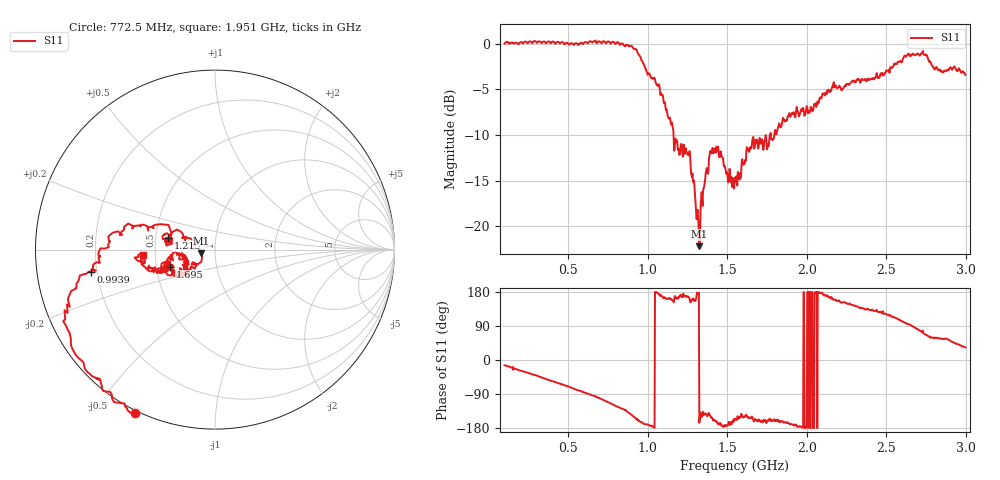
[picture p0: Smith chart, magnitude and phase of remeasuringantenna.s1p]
# HZ S RI R 50
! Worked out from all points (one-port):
!   1009 points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, 100 MHz to 2.997 GHz, reference 50 ohm
!   lowest |S11| = -22.2 dB at 1.324 GHz (marker M1), VSWR 1.17, Z = 42.9 - j1.7 ohm
!   |S11| at or under -10 dB: 1.162 GHz to 1.77 GHz (608.2 MHz wide, 41.5 % of centre); 1.774 GHz to 1.796 GHz (21.81 MHz wide, 1.22 % of centre)
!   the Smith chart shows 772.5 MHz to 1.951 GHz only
!   S11 on the Smith chart (normalised r, x): 772.5 MHz: -0.01, -0.62; 993.9 MHz: 0.18, -0.09; 1.215 GHz: 0.58, +0.08; 1.695 GHz: 0.59, -0.12; 1.951 GHz: 0.43, -0.03
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1e8  0.9707 -0.2409
2.95441e8  0.7842 -0.6624
4.621408e8  0.4388 -0.9211
6.489594e8  -0.0503 -1.015
7.725471e8  -0.4442 -0.9096
8.242815e8  -0.5817 -0.7946
9.191279e8  -0.8247 -0.4363
9.938554e8  -0.6914 -0.1225
1.105947e9  -0.4623 0.1181
1.186422e9  -0.2679 0.0912
1.215164e9  -0.2591 0.0661
1.255401e9  -0.2408 0.0588
1.312884e9  -0.1234 0.00573
1.324381e9  -0.0755 -0.0197
1.404856e9  -0.2301 -0.1209
1.47671e9  -0.2192 -0.0127
1.548563e9  -0.1693 -0.0746
1.695144e9  -0.2495 -0.0947
1.910704e9  -0.4085 -0.0635
1.950942e9  -0.3988 -0.0306
2.083152e9  -0.5004 0.0242
2.272845e9  -0.5122 0.3261
2.491279e9  -0.3718 0.5821
2.634985e9  -0.087 0.8714
2.718335e9  0.2112 0.8505
2.764321e9  0.3805 0.7229
2.870664e9  0.3965 0.588
2.997126e9  0.5641 0.3668
